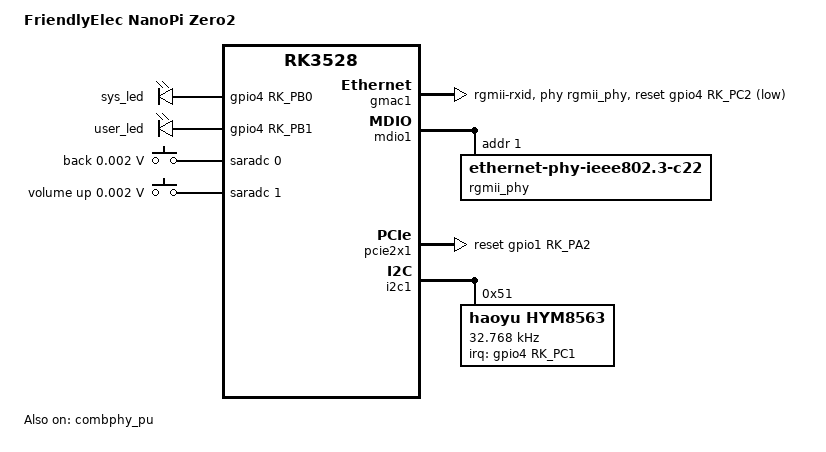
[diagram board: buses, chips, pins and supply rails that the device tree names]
// SPDX-License-Identifier: (GPL-2.0+ OR MIT)
/*
 * Copyright (c) 2024 FriendlyElec Computer Tech. Co., Ltd.
 * (http://www.friendlyelec.com)
 */

/dts-v1/;

#include "rk3528-nanopi-common.dtsi"

/ {
	model = "FriendlyElec NanoPi Zero2";
	compatible = "friendlyelec,nanopi-zero2", "rockchip,rk3528";

	leds: gpio-leds {
		compatible = "gpio-leds";

		sys_led: led-0 {
			gpios = <&gpio4 RK_PB0 GPIO_ACTIVE_HIGH>;
			label = "sys_led";
			linux,default-trigger = "heartbeat";
			pinctrl-names = "default";
			pinctrl-0 = <&sys_led_pin>;
		};

		user_led: led-1 {
			gpios = <&gpio4 RK_PB1 GPIO_ACTIVE_HIGH>;
			label = "user_led";
			pinctrl-names = "default";
			pinctrl-0 = <&user_led_pin>;
		};
	};

	adc_keys: adc-keys {
		status = "okay";
		compatible = "adc-keys";
		io-channels = <&saradc 0>;
		io-channel-names = "buttons";
		keyup-threshold-microvolt = <1800000>;
		poll-interval = <100>;

		back-key {
			label = "back";
			linux,code = <KEY_BACK>;
			press-threshold-microvolt = <1750>;
		};
	};

	adc2_keys: adc2-keys {
		status = "okay";
		compatible = "adc-keys";
		io-channels = <&saradc 1>;
		io-channel-names = "buttons";
		keyup-threshold-microvolt = <1800000>;
		poll-interval = <100>;

		vol-up-key {
			label = "volume up";
			linux,code = <KEY_VOLUMEUP>;
			press-threshold-microvolt = <1750>;
		};
	};
};

&mach {
    hwrev = <1>;
    model = "NanoPi Zero2";
};

&gmac1 {
	/* Use rgmii-rxid mode to disable rx delay inside Soc */
	phy-mode = "rgmii-rxid";
	clock_in_out = "output";

	snps,reset-gpio = <&gpio4 RK_PC2 GPIO_ACTIVE_LOW>;
	snps,reset-active-low;
	/* Reset time is 20ms, 100ms for rtl8211f */
	snps,reset-delays-us = <0 20000 100000>;

	tx_delay = <0x30>;
	/* rx_delay = <0x3f>; */

	pinctrl-names = "default";
	pinctrl-0 = <&rgmii_miim
		     &rgmii_tx_bus2
		     &rgmii_rx_bus2
		     &rgmii_rgmii_clk
		     &rgmii_rgmii_bus
		     &eth_pins>;

	phy-handle = <&rgmii_phy>;
	status = "okay";
};

&mdio1 {
	rgmii_phy: phy@1 {
		compatible = "ethernet-phy-ieee802.3-c22";
		reg = <0x1>;
		realtek,ledsel = <0xae00>;
	};
};

&pcie2x1 {
	pinctrl-names = "default";
	pinctrl-0 = <&pciem1_pins>;
	reset-gpios = <&gpio1 RK_PA2 GPIO_ACTIVE_HIGH>;
	resets = <&cru SRST_RESETN_PCIE_POWER_UP>, <&cru SRST_PRESETN_PCIE>;
	reset-names = "pcie", "periph";
	rockchip,skip-scan-in-resume;
	status = "okay";
};

&combphy_pu {
	status = "okay";
};

&i2c1 {
	status = "okay";
	pinctrl-names = "default";
	pinctrl-0 = <&i2c1m0_xfer>;

	hym8563: hym8563@51 {
		compatible = "haoyu,hym8563";
		reg = <0x51>;
		#clock-cells = <0>;
		clock-frequency = <32768>;
		clock-output-names = "hym8563";
		pinctrl-names = "default";
		pinctrl-0 = <&rtc_int>;

		interrupt-parent = <&gpio4>;
		interrupts = <RK_PC1 IRQ_TYPE_LEVEL_LOW>;
		wakeup-source;
	};
};

&pciem1_pins {
	rockchip,pins =
		/* pcie_clkreqn_m1 */
		<1 RK_PA0 4 &pcfg_pull_none>,
		/* pcie_waken_m1 */
		<1 RK_PA1 4 &pcfg_pull_none>,
		/* pcie_reset_gpio */
		<1 RK_PA2 RK_FUNC_GPIO &pcfg_pull_none>;
};

&pinctrl {
	leds {
		sys_led_pin: sys-led-pin {
			rockchip,pins = <4 RK_PB0 RK_FUNC_GPIO &pcfg_pull_none>;
		};

		user_led_pin: user-led-pin {
			rockchip,pins = <4 RK_PB1 RK_FUNC_GPIO &pcfg_pull_none>;
		};
	};

	hym8563 {
		rtc_int: rtc-int {
			rockchip,pins = <4 RK_PC1 RK_FUNC_GPIO &pcfg_pull_none>;
		};
	};
};
